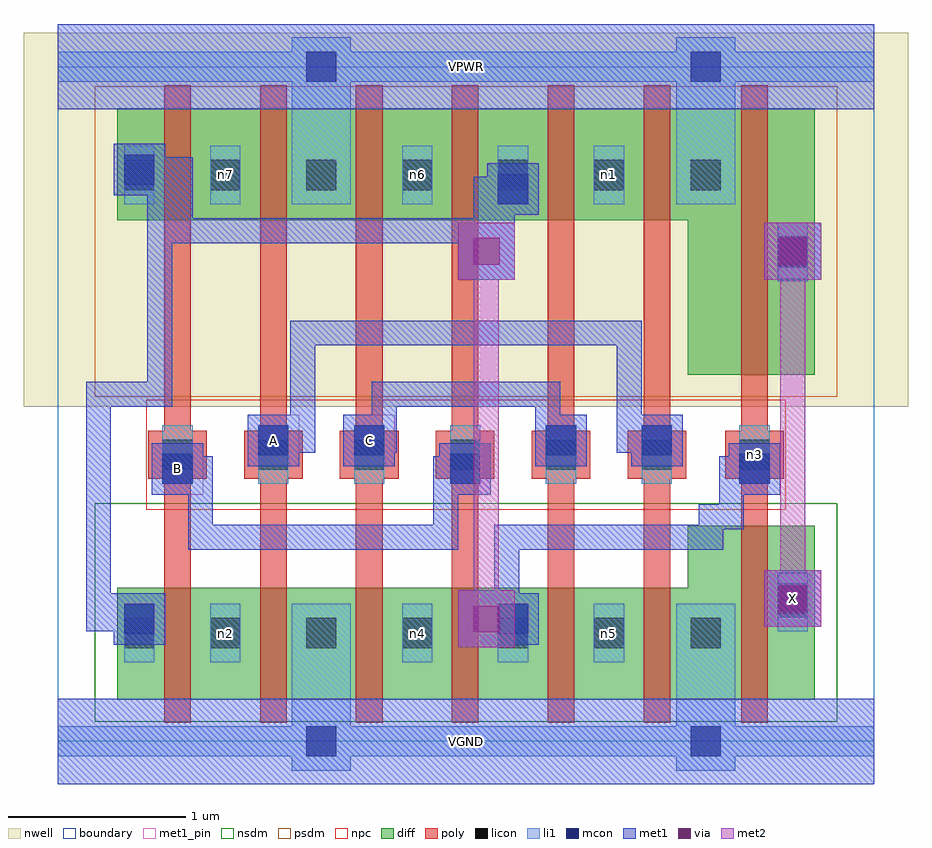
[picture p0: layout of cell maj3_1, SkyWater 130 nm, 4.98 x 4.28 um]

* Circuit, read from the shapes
.subckt maj3_1 A B C VGND VPWR X n1 n2 n3 n4 n5 n6 n7
XM1 n2 B n3 VSUBS sky130_fd_pr__nfet_01v8 w=0.63 l=0.15
XM2 VGND A n2 VSUBS sky130_fd_pr__nfet_01v8 w=0.63 l=0.15
XM3 n4 C VGND VSUBS sky130_fd_pr__nfet_01v8 w=0.63 l=0.15
XM4 n3 B n4 VSUBS sky130_fd_pr__nfet_01v8 w=0.63 l=0.15
XM5 n5 C n3 VSUBS sky130_fd_pr__nfet_01v8 w=0.63 l=0.15
XM6 VGND A n5 VSUBS sky130_fd_pr__nfet_01v8 w=0.63 l=0.15
XM7 X n3 VGND VSUBS sky130_fd_pr__nfet_01v8 w=0.98 l=0.15
XM8 n7 B n3 n8 sky130_fd_pr__pfet_01v8 w=0.63 l=0.15
XM9 VPWR A n7 n8 sky130_fd_pr__pfet_01v8 w=0.63 l=0.15
XM10 n6 C VPWR n8 sky130_fd_pr__pfet_01v8 w=0.63 l=0.15
XM11 n3 B n6 n8 sky130_fd_pr__pfet_01v8 w=0.63 l=0.15
XM12 n1 C n3 n8 sky130_fd_pr__pfet_01v8 w=0.63 l=0.15
XM13 VPWR A n1 n8 sky130_fd_pr__pfet_01v8 w=0.63 l=0.15
XM14 X n3 VPWR n8 sky130_fd_pr__pfet_01v8 w=1.5 l=0.15
.ends

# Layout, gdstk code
import gdstk
lib = gdstk.Library(unit=1e-6, precision=1e-09)
def R(c, l, rs):  # rectangles x0, y0, x1, y1
    for r in rs: c.add(gdstk.rectangle(r[:2], r[2:], *l))
def A(c, l, x, y, w, h, nx, ny, dx, dy):  # array of equal rectangles
    R(c, l, [(x+i*dx, y+j*dy, x+i*dx+w, y+j*dy+h) for i in range(nx) for j in range(ny)])
nwell = (64, 20)
diff = (65, 20)
poly = (66, 20)
licon = (66, 44)
li1 = (67, 20)
mcon = (67, 44)
met1_pin = (68, 16)
met1 = (68, 20)
via = (68, 44)
met2 = (69, 20)
nsdm = (93, 44)
psdm = (94, 20)
npc = (95, 20)
boundary = (235, 4)

maj3_1 = lib.new_cell('maj3_1')
R(maj3_1, nwell, [(-0.19,1.885,4.79,3.99), (0,1.885,4.6,3.99)])
R(maj3_1, diff, [(0.335,0.235,3.7,0.865), (3.55,0.235,4.265,1.215), (3.55,2.065,4.265,3.565), (0.335,2.935,3.7,3.565)])
A(maj3_1, poly, 0.6, 0.105, 0.15, 3.59, 6, 1, 0.54, 0)
A(maj3_1, poly, 0.51, 1.48, 0.33, 0.27, 6, 1, 0.54, 0)
R(maj3_1, poly, [(3.85,0.105,4,3.695), (3.76,1.48,4.09,1.75)])
A(maj3_1, licon, 0.86, 0.525, 0.17, 0.17, 5, 2, 0.54, 2.58)
A(maj3_1, licon, 0.59, 1.53, 0.17, 0.17, 6, 1, 0.54, 0)
R(maj3_1, licon, [(0.375,0.525,0.545,0.695), (3.565,0.525,3.735,0.695), (4.055,0.7,4.225,0.87), (3.84,1.53,4.01,1.7), (4.055,2.67,4.225,2.84), (0.375,3.105,0.545,3.275), (3.565,3.105,3.735,3.275)])
A(maj3_1, li1, 1.94, 0.445, 0.17, 0.33, 3, 2, 0.54, 2.58)
A(maj3_1, li1, 0.59, 1.45, 0.17, 0.33, 6, 1, 0.54, 0)
R(maj3_1, li1, [(1.32,-0.165,1.65,0.775), (3.485,-0.165,3.815,0.775), (0,-0.085,4.6,0.085), (0.375,0.445,0.545,0.775), (0.86,0.445,1.03,0.775), (4.055,0.62,4.225,0.95), (3.84,1.45,4.01,1.78), (4.055,2.59,4.225,2.92), (0.375,3.025,0.545,3.355), (0.86,3.025,1.03,3.355), (1.32,3.025,1.65,3.965), (3.485,3.025,3.815,3.965), (0,3.715,4.6,3.885)])
R(maj3_1, mcon, [(1.4,-0.085,1.57,0.085), (3.565,-0.085,3.735,0.085), (0.375,0.605,0.545,0.775), (2.48,0.605,2.65,0.775), (4.055,0.72,4.225,0.89), (0.59,1.45,0.76,1.62), (2.21,1.45,2.38,1.62), (3.84,1.45,4.01,1.62), (1.13,1.61,1.3,1.78), (1.67,1.61,1.84,1.78), (2.75,1.61,2.92,1.78), (3.29,1.61,3.46,1.78), (4.055,2.675,4.225,2.845), (2.48,3.025,2.65,3.195), (0.375,3.135,0.545,3.305), (1.4,3.715,1.57,3.885), (3.565,3.715,3.735,3.885)])
R(maj3_1, met1_pin, [(0,-0.24,4.6,0.24), (3.98,0.645,4.3,0.965), (0.53,1.39,0.82,1.68), (1.07,1.55,1.36,1.84), (1.61,1.55,1.9,1.84), (0,3.56,4.6,4.04)])
R(maj3_1, met1, [(0,-0.24,4.6,0.24), (2.255,0.53,2.575,0.85), (0.315,0.545,0.605,0.835), (2.42,0.545,2.71,0.835), (0.16,0.62,0.53,0.76), (0.16,0.62,0.3,2.025), (0.3,0.62,0.315,0.835), (2.345,0.62,2.635,0.76), (2.345,0.62,2.6,0.76), (2.46,0.62,2.6,1.22), (3.98,0.645,4.3,0.965), (3.995,0.66,4.285,0.95), (0.735,1.08,0.875,1.45), (0.735,1.08,2.255,1.22), (2.115,1.08,2.255,1.45), (2.46,1.08,3.75,1.22), (3.61,1.08,3.75,1.335), (3.61,1.195,3.865,1.335), (3.725,1.195,3.865,1.45), (0.735,1.31,0.875,1.605), (2.115,1.31,2.255,1.605), (3.725,1.31,3.865,1.605), (0.53,1.39,0.82,1.68), (2.15,1.39,2.44,1.68), (3.78,1.39,4.07,1.68), (0.605,1.465,0.875,1.605), (2.115,1.465,2.365,1.605), (3.725,1.465,3.995,1.605), (1.07,1.55,1.36,1.84), (1.61,1.55,1.9,1.84), (2.69,1.55,2.98,1.84), (3.23,1.55,3.52,1.84), (1.145,1.625,1.45,1.765), (1.31,1.625,1.45,1.91), (1.685,1.625,1.91,1.765), (1.77,1.625,1.91,1.91), (2.69,1.625,2.83,1.91), (2.69,1.625,2.905,1.765), (3.15,1.625,3.29,1.91), (3.15,1.625,3.445,1.765), (1.31,1.77,1.45,2.37), (1.77,1.77,1.91,2.025), (2.69,1.77,2.83,2.025), (3.15,1.77,3.29,2.37), (0.16,1.885,0.645,2.025), (0.505,1.885,0.645,2.945), (1.77,1.885,2.83,2.025), (1.31,2.23,3.29,2.37), (2.255,2.6,2.575,2.92), (3.98,2.6,4.3,2.92), (3.995,2.615,4.285,2.905), (2.345,2.69,2.485,2.945), (0.505,2.805,0.76,2.945), (0.62,2.805,0.76,3.29), (0.62,2.805,2.485,2.945), (2.345,2.805,2.485,3.06), (2.345,2.92,2.485,3.18), (2.345,2.92,2.575,3.04), (2.42,2.92,2.575,2.965), (0.505,2.945,0.605,3.075), (0.605,2.945,0.62,3.075), (2.42,2.965,2.71,3.255), (2.345,3.04,2.635,3.18), (0.315,3.075,0.605,3.365), (0.605,3.075,0.62,3.29), (0.39,3.15,0.76,3.29), (0,3.56,4.6,4.04)])
R(maj3_1, via, [(2.34,0.615,2.49,0.765), (4.065,0.73,4.215,0.88), (2.34,2.685,2.49,2.835), (4.065,2.685,4.215,2.835)])
R(maj3_1, met2, [(2.255,0.53,2.575,0.85), (2.345,0.62,2.485,2.83), (3.98,0.645,4.3,0.965), (4.07,0.735,4.21,2.83), (2.255,2.6,2.575,2.92), (3.98,2.6,4.3,2.92)])
R(maj3_1, nsdm, [(0.21,0.11,4.39,1.34)])
R(maj3_1, psdm, [(0.21,1.94,4.39,3.69)])
R(maj3_1, npc, [(0.5,1.305,4.1,1.925)])
R(maj3_1, boundary, [(0,0,4.6,3.8)])
maj3_1.add(gdstk.Label('n3', (3.925,1.615), layer=67, texttype=5))
maj3_1.add(gdstk.Label('n2', (0.945,0.61), layer=67, texttype=5))
maj3_1.add(gdstk.Label('n4', (2.025,0.61), layer=67, texttype=5))
maj3_1.add(gdstk.Label('n5', (3.105,0.61), layer=67, texttype=5))
maj3_1.add(gdstk.Label('n7', (0.945,3.19), layer=67, texttype=5))
maj3_1.add(gdstk.Label('n6', (2.025,3.19), layer=67, texttype=5))
maj3_1.add(gdstk.Label('n1', (3.105,3.19), layer=67, texttype=5))
maj3_1.add(gdstk.Label('A', (1.215,1.695), layer=68, texttype=5))
maj3_1.add(gdstk.Label('B', (0.675,1.535), layer=68, texttype=5))
maj3_1.add(gdstk.Label('C', (1.755,1.695), layer=68, texttype=5))
maj3_1.add(gdstk.Label('X', (4.14,0.805), layer=68, texttype=5))
maj3_1.add(gdstk.Label('VPWR', (2.3,3.8), layer=68, texttype=5))
maj3_1.add(gdstk.Label('VGND', (2.3,0), layer=68, texttype=5))
maj3_1.add(gdstk.Label('A', (1.215,1.695), layer=68, texttype=16))
maj3_1.add(gdstk.Label('B', (0.675,1.535), layer=68, texttype=16))
maj3_1.add(gdstk.Label('C', (1.755,1.695), layer=68, texttype=16))
maj3_1.add(gdstk.Label('X', (4.14,0.805), layer=68, texttype=16))
maj3_1.add(gdstk.Label('VPWR', (2.3,3.8), layer=68, texttype=16))
maj3_1.add(gdstk.Label('VGND', (2.3,0), layer=68, texttype=16))

lib.write_gds('maj3_1.gds')
